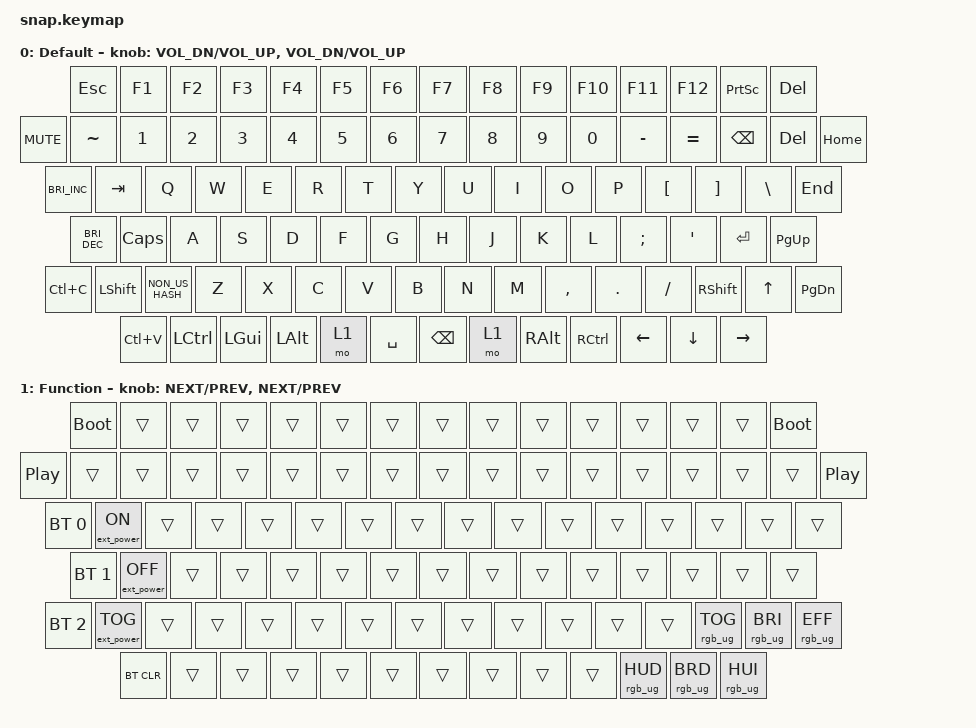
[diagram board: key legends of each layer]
/*
 * Copyright (c) 2022 The ZMK Contributors
 *
 * SPDX-License-Identifier: MIT
 */

#include <behaviors.dtsi>
#include <dt-bindings/zmk/keys.h>
#include <dt-bindings/zmk/rgb.h>
#include <dt-bindings/zmk/rgb.h>
#include <dt-bindings/zmk/bt.h>
#include <dt-bindings/zmk/ext_power.h>

#define NUS NON_US_HASH

/ {
	sensors {
		compatible = "zmk,keymap-sensors";
		sensors = <&left_encoder &right_encoder>;
	};

	keymap {
		compatible = "zmk,keymap";

		default_layer {
			label = "Default";
			sensor-bindings = <&inc_dec_kp C_VOL_DN C_VOL_UP &inc_dec_kp C_VOL_DN C_VOL_UP>;
			bindings = <
             &kp ESC     &kp F1   &kp F2   &kp F3   &kp F4   &kp F5   &kp F6     &kp F7   &kp F8   &kp F9    &kp F10  &kp F11     &kp F12     &kp PSCRN   &kp DEL
&kp C_MUTE   &kp TILDE   &kp N1   &kp N2   &kp N3   &kp N4   &kp N5   &kp N6     &kp N7   &kp N8   &kp N9    &kp N0   &kp MINUS   &kp EQUAL   &kp BSPC     &kp DEL    &kp HOME
&kp C_BRIGHTNESS_INC    &kp TAB     &kp Q    &kp W    &kp E    &kp R             &kp T      &kp Y    &kp U    &kp I     &kp O    &kp P       &kp LBKT    &kp RBKT     &kp BSLH   &kp END
&kp C_BRIGHTNESS_DEC    &kp CLCK    &kp A    &kp S    &kp D    &kp F             &kp G      &kp H    &kp J    &kp K     &kp L    &kp SEMI    &kp SQT     &kp RET                 &kp PG_UP
&kp LC(C)      &kp LSHFT   &kp NUS  &kp Z    &kp X    &kp C    &kp V    &kp B      &kp N    &kp M    &kp COMMA &kp DOT  &kp FSLH    &kp RSHFT                &kp UP     &kp PG_DN
&kp LC(V)      &kp LCTRL   &kp LGUI &kp LALT          &mo 1            &kp SPACE    &kp BSPC                   &mo 1    &kp RALT    &kp RCTRL   &kp LEFT     &kp DOWN   &kp RIGHT
			>;
		};

		function_layer {
			label = "Function";
			sensor-bindings = <&inc_dec_kp C_NEXT C_PREV &inc_dec_kp C_NEXT C_PREV>;
			bindings = <
             &bootloader &trans   &trans   &trans   &trans   &trans   &trans     &trans   &trans   &trans   &trans    &trans      &trans      &trans       &bootloader
&kp C_PP     &trans      &trans   &trans   &trans   &trans   &trans   &trans     &trans   &trans   &trans   &trans    &trans      &trans      &trans       &trans     &kp C_PP
&bt BT_SEL 0       &ext_power EP_ON       &trans   &trans   &trans   &trans            &trans     &trans   &trans   &trans   &trans    &trans      &trans      &trans       &trans     &trans
&bt BT_SEL 1       &ext_power EP_OFF      &trans   &trans   &trans   &trans            &trans     &trans   &trans   &trans   &trans    &trans      &trans                   &trans     &trans
&bt BT_SEL 2       &ext_power EP_TOG      &trans   &trans   &trans   &trans   &trans   &trans     &trans   &trans   &trans   &trans    &trans          &rgb_ug RGB_TOG &rgb_ug RGB_BRI &rgb_ug RGB_EFF
&bt BT_CLR         &trans      &trans   &trans            &trans           &trans       &trans                    &trans    &trans  &trans  &rgb_ug RGB_HUD &rgb_ug RGB_BRD &rgb_ug RGB_HUI
			>;
		};
	};
};
